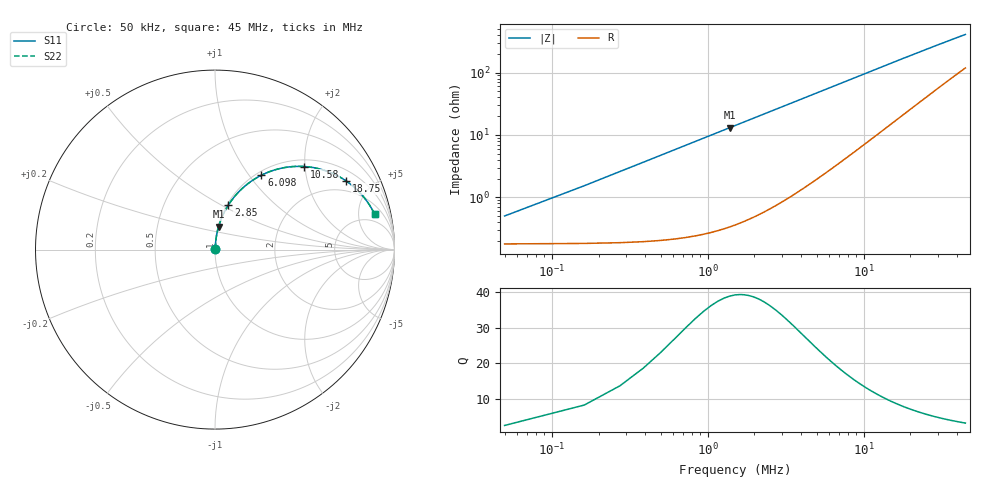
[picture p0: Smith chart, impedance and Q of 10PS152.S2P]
! Coilcraft 1008PS-152 Power Chip Inductor
! 7 October 2002
# MHZ S MA R 50
!Freq  MagS11  AngS11  MagS21  AngS21  MagS12  AngS12  MagS22  AngS22
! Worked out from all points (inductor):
!   403 points, 50 kHz to 45 MHz, reference 50 ohm
!   read as one part in series: L = 1.5 uH near 274 kHz
!   highest Q = 38.9 at 1.394 MHz (marker M1), where L = 1.5 uH
!   S11 on the Smith chart (normalised r, x): 50 kHz: 1.00, +0.01; 2.85 MHz: 1.02, +0.54; 6.098 MHz: 1.06, +1.15; 10.58 MHz: 1.15, +1.98; 18.75 MHz: 1.46, +3.48; 45 MHz: 3.37, +7.77
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0.05  0.005036 68.8  0.9982 -0.3  0.9982 -0.3  0.005036 68.8
0.162  0.01536 82.3  0.9981 -0.9  0.9981 -0.9  0.01536 82.3
0.386  0.03637 84.8  0.9974 -2.1  0.9974 -2.1  0.03637 84.8
0.498  0.04688 84.8  0.9969 -2.7  0.9969 -2.7  0.04688 84.8
0.61  0.05737 84.6  0.9962 -3.3  0.9962 -3.3  0.05737 84.6
0.834  0.07829 83.8  0.9945 -4.5  0.9945 -4.5  0.07829 83.8
1.058  0.09909 82.7  0.9923 -5.7  0.9923 -5.7  0.09909 82.7
1.394  0.13 81.1  0.9882 -7.5  0.9882 -7.5  0.13 81.1
2.066  0.1904 77.5  0.9767 -11.0  0.9767 -11.0  0.1904 77.5
2.85  0.2578 73.4  0.9587 -14.9  0.9587 -14.9  0.2578 73.4
3.522  0.3123 69.9  0.9399 -18.2  0.9399 -18.2  0.3123 69.9
4.306  0.3715 66.1  0.9148 -21.8  0.9148 -21.8  0.3715 66.1
6.098  0.4884 58.1  0.8495 -29.2  0.8495 -29.2  0.4884 58.1
7.554  0.5648 52.4  0.7935 -34.3  0.7935 -34.3  0.5648 52.4
10.578  0.6798 42.9  0.6829 -42.7  0.6829 -42.7  0.6798 42.9
12.706  0.7346 37.8  0.6151 -47.0  0.6151 -47.0  0.7346 37.8
15.058  0.7783 33.2  0.5507 -50.7  0.5507 -50.7  0.7783 33.2
18.754  0.8239 27.7  0.4695 -54.8  0.4695 -54.8  0.8239 27.7
22.562  0.8535 23.6  0.4057 -57.5  0.4057 -57.5  0.8535 23.6
30.066  0.8857 18.2  0.3187 -60.2  0.3187 -60.2  0.8857 18.2
37.57  0.9021 14.7  0.2626 -60.9  0.2626 -60.9  0.9021 14.7
45  0.9114 12.4  0.2243 -60.7  0.2243 -60.7  0.9114 12.4
